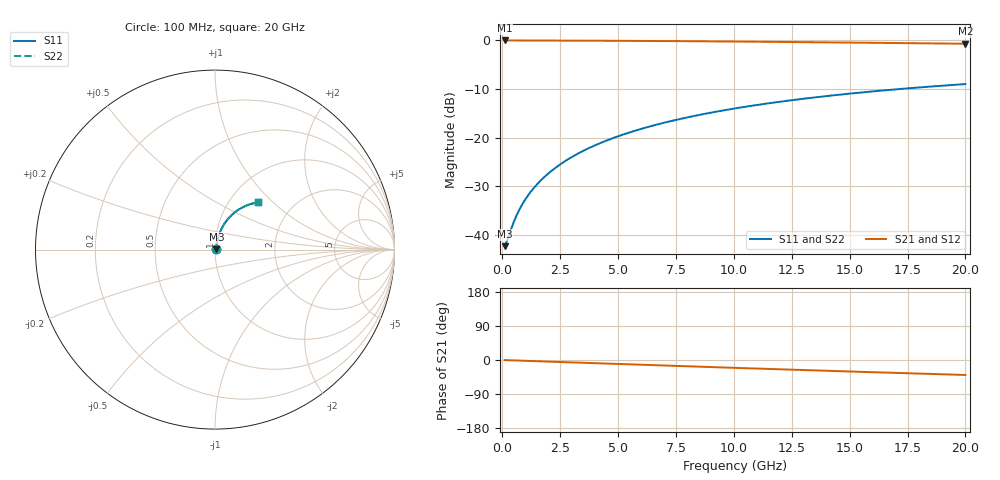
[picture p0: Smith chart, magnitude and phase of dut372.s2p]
! Touchstone file exported from HFSS 2026.1.0
!  File:  C:/ffzhzh/LocalFiles/Ansys_Project_Files/temp_train_BSMRDL_372_1783011815_53980.aedt
!  Generated:  01:04:58 AM Jul  3, 2026
!  Design:  BSMRDL
!  Project:  temp_train_BSMRDL_372_1783011815_53980
! Variables:
!  h_bsmrdl = 2.37um
!  h_ox = 20um
!  h_rdl = 5um
!  h_sub = 80um
!  h_tmrdl = 5um
!  h_tsv = 80um
!  h_via = 3um
!  l_bsmrdl = 601.05um
!  l_sub = 1001.05um
!  l_tmrdl = 200um
!  m_sub = 200um
!  pitch = 26.69um
!  r_tsv = 6um
!  s_tmrdl = 10um
!  w_bsmrdl = 12.29um
!  w_sub = 500um
!  w_tmrdl = 12um
!  x_tsv_center1 = 206um
!  x_tsv_center2 = 819.34um
!  x_tsv_center3 = 1031.34um
!  x_tsv_center4 = 1644.68um
!  x_tsv_center5 = 1856.68um
!  x_tsv_center6 = 2470.02um
# GHz S MA R 50.000000
! Terminal data exported
! Port[1] = BSM_RDL1_1_T1
! Port[2] = BSM_RDL1_1_T2
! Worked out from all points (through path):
!   200 points, 100 MHz to 20 GHz, reference 50 ohm
!   highest |S21| = -0.06 dB at 100 MHz (marker M1); lowest = -0.7 dB at 20 GHz (marker M2)
!   group delay of S21, straight-line fit = 5.5 ps
!   lowest |S11| = -42.3 dB at 100 MHz (marker M3), VSWR 1.02, Z = 50.7 + j0.231 ohm
!   |S11| at or under -10 dB: start of sweep to 17.22 GHz
!   |S22| runs from -42.3 to -9.0 dB; largest |S21 - S12| = 2.3e-14
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0.1  0.007709 17.2  0.9926 -0.2  0.9926 -0.2  0.007709 17.2
! Gamma 0 0 0 0
! Port Impedance 50 0 50 0
0.2  0.008738 31.3  0.9926 -0.4  0.9926 -0.4  0.008738 31.3
0.4  0.01189 48.9  0.9923 -0.9  0.9923 -0.9  0.01189 48.9
0.5  0.01372 54.1  0.9921 -1.1  0.9921 -1.1  0.01372 54.1
0.7  0.01752 60.8  0.9917 -1.5  0.9917 -1.5  0.01752 60.8
0.8  0.01946 63.1  0.9916 -1.7  0.9916 -1.7  0.01946 63.1
1  0.02336 66.5  0.9913 -2.2  0.9913 -2.2  0.02336 66.5
1.3  0.02925 69.7  0.9908 -2.8  0.9908 -2.8  0.02925 69.7
1.7  0.03716 72.3  0.9903 -3.6  0.9903 -3.6  0.03716 72.3
2.2  0.04715 74.0  0.9897 -4.7  0.9897 -4.7  0.04715 74.0
2.8  0.0592 74.9  0.9888 -5.9  0.9888 -5.9  0.0592 74.9
3.5  0.07328 75.0  0.9877 -7.4  0.9877 -7.4  0.07328 75.0
4.2  0.08733 74.6  0.9863 -8.8  0.9863 -8.8  0.08733 74.6
5  0.1033 73.8  0.9845 -10.5  0.9845 -10.5  0.1033 73.8
5.9  0.1211 72.6  0.9821 -12.4  0.9821 -12.4  0.1211 72.7
6.8  0.1386 71.3  0.9795 -14.2  0.9795 -14.2  0.1386 71.3
8.3  0.1672 68.8  0.9744 -17.2  0.9744 -17.2  0.1672 68.8
10.1  0.2003 65.6  0.9673 -20.9  0.9673 -20.9  0.2003 65.6
11.7  0.2285 62.7  0.9604 -24.0  0.9604 -24.0  0.2285 62.7
13.4  0.2572 59.6  0.9524 -27.3  0.9524 -27.3  0.2572 59.6
16.7  0.3086 53.6  0.9358 -33.5  0.9358 -33.5  0.3086 53.7
20  0.3544 47.8  0.9185 -39.5  0.9185 -39.5  0.3544 47.9
